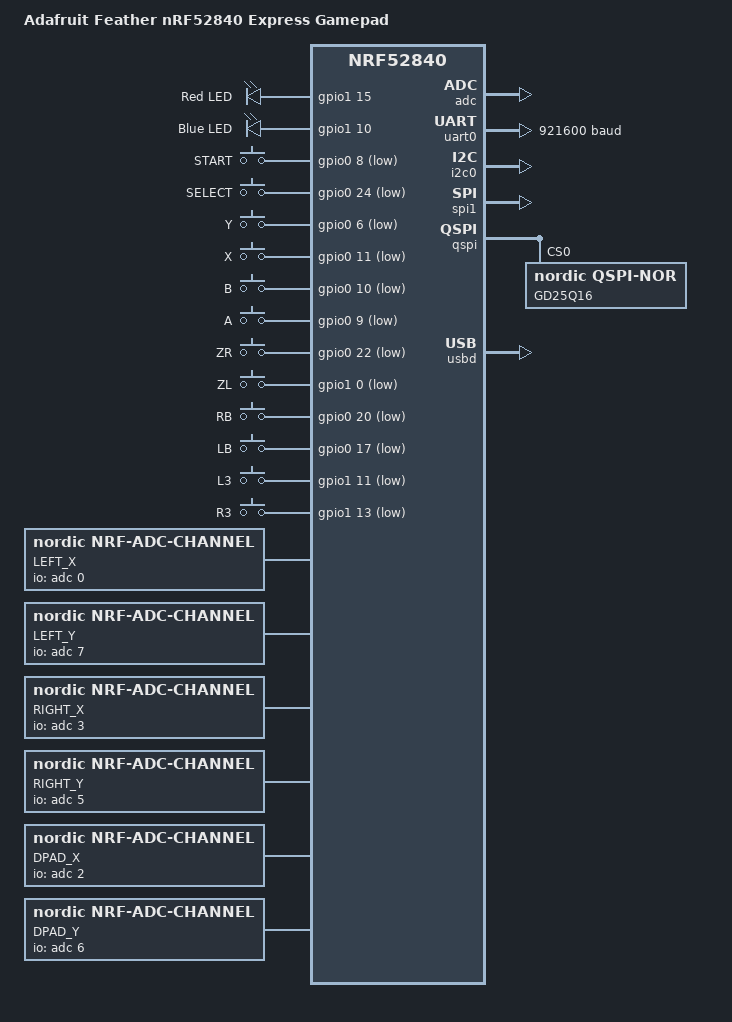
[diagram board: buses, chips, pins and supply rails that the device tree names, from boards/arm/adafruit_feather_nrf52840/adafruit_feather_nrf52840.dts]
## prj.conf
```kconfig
CONFIG_BT=y
CONFIG_BT_DEBUG_LOG=y
#CONFIG_BT_MAX_CONN=1
#CONFIG_BT_MAX_PAIRED=1
CONFIG_BT_L2CAP_TX_BUF_COUNT=5
CONFIG_BT_PERIPHERAL=y
#CONFIG_BT_DEVICE_NAME="Gamepad nRF5240"
CONFIG_BT_DEVICE_APPEARANCE=964

CONFIG_ADC=y
CONFIG_ADC_NRFX_SAADC=y

CONFIG_BT_BAS=y
CONFIG_BT_HIDS=y
#CONFIG_BT_HIDS_MAX_CLIENT_COUNT=1
CONFIG_BT_GATT_UUID16_POOL_SIZE=40
CONFIG_BT_GATT_CHRC_POOL_SIZE=20

CONFIG_BT_CONN_CTX=y

CONFIG_BT_DIS=y
CONFIG_BT_DIS_PNP=y
CONFIG_BT_DIS_MANUF="Arasaka"
CONFIG_BT_DIS_PNP_VID_SRC=2
CONFIG_BT_DIS_PNP_VID=0x18d1
CONFIG_BT_DIS_PNP_PID=0x9400
CONFIG_BT_DIS_PNP_VER=0x0100

CONFIG_MAIN_STACK_SIZE=1536
CONFIG_SYSTEM_WORKQUEUE_STACK_SIZE=2048

CONFIG_BT_HIDS_DEFAULT_PERM_RW_ENCRYPT=y

CONFIG_BT_SMP=y
CONFIG_BT_SETTINGS=y
CONFIG_FLASH=y
CONFIG_FLASH_PAGE_LAYOUT=y
CONFIG_FLASH_MAP=y
CONFIG_NVS=y
CONFIG_SETTINGS=y

CONFIG_BT_PRIVACY=y

CONFIG_LOG=y
CONFIG_LOG_MAX_LEVEL=3
#CONFIG_BT_HIDS_LOG_LEVEL_DBG=y
#CONFIG_BT_GATT_LOG_LEVEL_DBG=y

CONFIG_BT_FILTER_ACCEPT_LIST=y

CONFIG_USE_DT_CODE_PARTITION=y
CONFIG_BUILD_OUTPUT_UF2=y

CONFIG_GPIO=y

CONFIG_POWEROFF=y

CONFIG_NRF_STORE_REBOOT_TYPE_GPREGRET=y
```

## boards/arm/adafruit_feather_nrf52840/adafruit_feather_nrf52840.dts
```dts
/dts-v1/;
#include <nordic/nrf52840_qiaa.dtsi>
#include "feather_connector.dtsi"
#include "adafruit_feather_nrf52840-pinctrl.dtsi"

/ {
	model = "Adafruit Feather nRF52840 Express Gamepad";
	compatible = "adafruit,feather-nrf52840";

	chosen {
		zephyr,console = &uart0;
		zephyr,shell-uart = &uart0;
		zephyr,uart-mcumgr = &uart0;
		zephyr,bt-mon-uart = &uart0;
		zephyr,bt-c2h-uart = &uart0;
		zephyr,sram = &sram0;
		zephyr,flash = &flash0;
		zephyr,code-partition = &code_partition;
	};
 
	leds {
		compatible = "gpio-leds";
		led0: led_0 {
			gpios = <&gpio1 15 0>;
			label = "Red LED";
		};
		led1: led_1 {
			gpios = <&gpio1 10 0>;
			label = "Blue LED";
		};
	};

	buttons {
		compatible = "gpio-keys";
		button_start: button_start { gpios = <&gpio0 8 (GPIO_PULL_UP | GPIO_ACTIVE_LOW)>; label = "START"; };
		button_select: button_select { gpios = <&gpio0 24 (GPIO_PULL_UP | GPIO_ACTIVE_LOW)>; label = "SELECT"; };
		button_y: button_y { gpios = <&gpio0 6 (GPIO_PULL_UP | GPIO_ACTIVE_LOW)>; label = "Y"; };
		button_x: button_x { gpios = <&gpio0 11 (GPIO_PULL_UP | GPIO_ACTIVE_LOW)>; label = "X"; };
		button_b: button_b { gpios = <&gpio0 10 (GPIO_PULL_UP | GPIO_ACTIVE_LOW)>; label = "B"; };
		button_a: button_a { gpios = <&gpio0 9 (GPIO_PULL_UP | GPIO_ACTIVE_LOW)>; label = "A"; };
		button_zr: button_zr { gpios = <&gpio0 22 (GPIO_PULL_UP | GPIO_ACTIVE_LOW)>; label = "ZR"; };
		button_zl: button_zl { gpios = <&gpio1 0 (GPIO_PULL_UP | GPIO_ACTIVE_LOW)>; label = "ZL"; };
		button_rb: button_rb { gpios = <&gpio0 20 (GPIO_PULL_UP | GPIO_ACTIVE_LOW)>; label = "RB"; };
		button_lb: button_lb { gpios = <&gpio0 17 (GPIO_PULL_UP | GPIO_ACTIVE_LOW)>; label = "LB"; };
		button_l3: button_l3 { gpios = <&gpio1 11 (GPIO_PULL_UP | GPIO_ACTIVE_LOW)>; label = "L3"; };
		button_r3: button_r3 { gpios = <&gpio1 13 (GPIO_PULL_UP | GPIO_ACTIVE_LOW)>; label = "R3"; };
	};

	aliases {
		led0 = &led0;
		led1 = &led1;
		btn-start = &button_start;
		btn-select = &button_select;
		btn-y = &button_y;
		btn-x = &button_x;
		btn-b = &button_b;
		btn-a = &button_a;
		btn-zr = &button_zr;
		btn-zl = &button_zl;
		btn-rb = &button_rb;
		btn-lb = &button_lb;
		btn-l3 = &button_l3;
		btn-r3 = &button_r3;
	};

	adc_left_x: adc_left_x {
		compatible = "nordic,nrf-adc-channel";
		io-channels = <&adc 0>; // AIN0: P0.02
		label = "LEFT_X";
	};
	adc_left_y: adc_left_y {
		compatible = "nordic,nrf-adc-channel";
		io-channels = <&adc 7>; // AIN7: P1.15
		label = "LEFT_Y";
	};
	adc_right_x: adc_right_x {
		compatible = "nordic,nrf-adc-channel";
		io-channels = <&adc 3>; // AIN3: P0.31
		label = "RIGHT_X";
	};
	adc_right_y: adc_right_y {
		compatible = "nordic,nrf-adc-channel";
		io-channels = <&adc 5>; // AIN5: P0.29
		label = "RIGHT_Y";
	};
	adc_dpad_x: adc_dpad_x {
		compatible = "nordic,nrf-adc-channel";
		io-channels = <&adc 2>; // AIN2: P1.04
		label = "DPAD_X";
	};
	adc_dpad_y: adc_dpad_y {
		compatible = "nordic,nrf-adc-channel";
		io-channels = <&adc 6>; // AIN6: P1.06
		label = "DPAD_Y";
	};
};

&adc {
	status = "okay";
};

&gpiote {
	status = "okay";
};

&gpio0 {
	status = "okay";
	sense-edge-mask = < 0xffffffff >;
};

&gpio1 {
	status = "okay";
	sense-edge-mask = < 0xffffffff >;
};

&uart0 {
	compatible = "nordic,nrf-uart";
	current-speed = <921600>;
	status = "okay";
	pinctrl-0 = <&uart0_default>;
	pinctrl-1 = <&uart0_sleep>;
	pinctrl-names = "default", "sleep";
};

&i2c0 {
	compatible = "nordic,nrf-twi";
	status = "okay";
	pinctrl-0 = <&i2c0_default>;
	pinctrl-1 = <&i2c0_sleep>;
	pinctrl-names = "default", "sleep";
};

&spi1 {
	compatible = "nordic,nrf-spi";
	status = "okay";
	pinctrl-0 = <&spi1_default>;
	pinctrl-1 = <&spi1_sleep>;
	pinctrl-names = "default", "sleep";
};

&qspi {
	status = "okay";
	pinctrl-0 = <&qspi_default>;
	pinctrl-1 = <&qspi_sleep>;
	pinctrl-names = "default", "sleep";
	gd25q16: gd25q16@0 {
		compatible = "nordic,qspi-nor";
		reg = <0>;
		writeoc = "pp4o";
		readoc = "read4io";
		sck-frequency = <16000000>;
		label = "GD25Q16";
		jedec-id = [c8 40 15];
		size = <16777216>;
		has-dpd;
		t-enter-dpd = <20000>;
		t-exit-dpd = <20000>;
		quad-enable-requirements = "S2B1v1";
	};
};

&flash0 {
	partitions {
		compatible = "fixed-partitions";
		#address-cells = <1>;
		#size-cells = <1>;
		sd_partition: partition@0 {
			label = "softdevice";
			reg = <0x00000000 0x00026000>;
		};
		code_partition: partition@26000 {
			label = "code_partition";
			reg = <0x00026000 0x000c6000>;
		};
		storage_partition: partition@ec000 {
			label = "storage";
			reg = <0x000ec000 0x00008000>;
		};
		boot_partition: partition@f4000 {
			label = "adafruit_boot";
			reg = <0x000f4000 0x0000c000>;
		};
	};
};

zephyr_udc0: &usbd {
	compatible = "nordic,nrf-usbd";
	status = "okay";
};
```

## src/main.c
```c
#include <assert.h>
#include <errno.h>
#include <soc.h>
#include <stddef.h>
#include <string.h>
#include <zephyr/drivers/gpio.h>
#include <zephyr/drivers/adc.h>
#include <zephyr/kernel.h>
#include <zephyr/logging/log.h>
#include <zephyr/settings/settings.h>
#include <zephyr/sys/byteorder.h>
#include <zephyr/sys/poweroff.h>
#include <zephyr/sys/printk.h>
#include <zephyr/sys/reboot.h>
#include <zephyr/types.h>
#include <zephyr/bluetooth/bluetooth.h>
#include <zephyr/bluetooth/conn.h>
#include <zephyr/bluetooth/gatt.h>
#include <zephyr/bluetooth/hci.h>
#include <zephyr/bluetooth/uuid.h>
#include <bluetooth/services/hids.h>
#include <zephyr/bluetooth/services/bas.h>
#include <zephyr/bluetooth/services/dis.h>
 
LOG_MODULE_REGISTER(gamepad, LOG_LEVEL_DBG);

#define REPORT_ID 3
#define REPORT_ID_IDX 0
#define REPORT_LEN 10
#define HIDS_QUEUE_SIZE 10
#define DISCONNECTED_SLEEP_TIMEOUT K_SECONDS(60)
#define CONNECTED_SLEEP_TIMEOUT K_SECONDS(600)
#define SYS_BUTTON_LONG_PRESS_MS 3000
#define SYS_BUTTON_VERY_LONG_PRESS_MS 10000
#define CHK(x) do { int ret = (x); if (ret) { printk("Error %d at %s:%d\n", ret, __FILE__, __LINE__); return; } } while(0)

#define DPAD_ADC_RESOLUTION 12
#define DPAD_ADC_GAIN ADC_GAIN_1
#define DPAD_ADC_REF ADC_REF_INTERNAL
#define DPAD_ADC_ACQUISITION_TIME ADC_ACQ_TIME_DEFAULT
#define DPAD_CENTER 2048
#define DPAD_DEADZONE 300
 
struct __attribute__((packed)) report_t {
    uint8_t dpad;
    uint8_t capture : 1;
    uint8_t assistant : 1;
    uint8_t l2 : 1;
    uint8_t r2 : 1;
    uint8_t stadia : 1;
    uint8_t menu : 1;
    uint8_t options : 1;
    uint8_t r3 : 1;
    uint8_t l3 : 1;
    uint8_t r1 : 1;
    uint8_t l1 : 1;
    uint8_t y : 1;
    uint8_t x : 1;
    uint8_t b : 1;
    uint8_t a : 1;
    uint8_t padding : 1;
    uint8_t lx;
    uint8_t ly;
    uint8_t rx;
    uint8_t ry;
    uint8_t l2_axis;
    uint8_t r2_axis;
    uint8_t extra_buttons;
};

static struct report_t report;
static struct report_t prev_report;

// Full HID report descriptor, as in your original file
static uint8_t const report_map[] = {
    0x05, 0x01,        // Usage Page (Generic Desktop Ctrls)
    0x09, 0x05,        // Usage (Game Pad)
    0xA1, 0x01,        // Collection (Application)
    0x85, 0x03,        //   Report ID (3)
    0x05, 0x01,        //   Usage Page (Generic Desktop Ctrls)
    0x75, 0x04,        //   Report Size (4)
    0x95, 0x01,        //   Report Count (1)
    0x25, 0x07,        //   Logical Maximum (7)
    0x46, 0x3B, 0x01,  //   Physical Maximum (315)
    0x65, 0x14,        //   Unit (System: English Rotation, Length: Centimeter)
    0x09, 0x39,        //   Usage (Hat switch)
    0x81, 0x42,        //   Input (Data,Var,Abs,No Wrap,Linear,Preferred State,Null State)
    0x45, 0x00,        //   Physical Maximum (0)
    0x65, 0x00,        //   Unit (None)
    0x75, 0x01,        //   Report Size (1)
    0x95, 0x04,        //   Report Count (4)
    0x81, 0x01,        //   Input (Const,Array,Abs,No Wrap,Linear,Preferred State,No Null Position)
    0x05, 0x09,        //   Usage Page (Button)
    0x15, 0x00,        //   Logical Minimum (0)
    0x25, 0x01,        //   Logical Maximum (1)
    0x75, 0x01,        //   Report Size (1)
    0x95, 0x0F,        //   Report Count (15)
    0x09, 0x12,        //   Usage (0x12)
    0x09, 0x11,        //   Usage (0x11)
    0x09, 0x14,        //   Usage (0x14)
    0x09, 0x13,        //   Usage (0x13)
    0x09, 0x0D,        //   Usage (0x0D)
    0x09, 0x0C,        //   Usage (0x0C)
    0x09, 0x0B,        //   Usage (0x0B)
    0x09, 0x0F,        //   Usage (0x0F)
    0x09, 0x0E,        //   Usage (0x0E)
    0x09, 0x08,        //   Usage (0x08)
    0x09, 0x07,        //   Usage (0x07)
    0x09, 0x05,        //   Usage (0x05)
    0x09, 0x04,        //   Usage (0x04)
    0x09, 0x02,        //   Usage (0x02)
    0x09, 0x01,        //   Usage (0x01)
    0x81, 0x02,        //   Input (Data,Var,Abs,No Wrap,Linear,Preferred State,No Null Position)
    0x75, 0x01,        //   Report Size (1)
    0x95, 0x01,        //   Report Count (1)
    0x81, 0x01,        //   Input (Const,Array,Abs,No Wrap,Linear,Preferred State,No Null Position)
    0x05, 0x01,        //   Usage Page (Generic Desktop Ctrls)
    0x15, 0x01,        //   Logical Minimum (1)
    0x26, 0xFF, 0x00,  //   Logical Maximum (255)
    0x09, 0x01,        //   Usage (Pointer)
    0xA1, 0x00,        //   Collection (Physical)
    0x09, 0x30,        //     Usage (X)
    0x09, 0x31,        //     Usage (Y)
    0x75, 0x08,        //     Report Size (8)
    0x95, 0x02,        //     Report Count (2)
    0x81, 0x02,        //     Input (Data,Var,Abs,No Wrap,Linear,Preferred State,No Null Position)
    0xC0,              //   End Collection
    0x09, 0x01,        //   Usage (Pointer)
    0xA1, 0x00,        //   Collection (Physical)
    0x09, 0x32,        //     Usage (Z)
    0x09, 0x35,        //     Usage (Rz)
    0x75, 0x08,        //     Report Size (8)
    0x95, 0x02,        //     Report Count (2)
    0x81, 0x02,        //     Input (Data,Var,Abs,No Wrap,Linear,Preferred State,No Null Position)
    0xC0,              //   End Collection
    0x05, 0x02,        //   Usage Page (Sim Ctrls)
    0x75, 0x08,        //   Report Size (8)
    0x95, 0x02,        //   Report Count (2)
    0x15, 0x00,        //   Logical Minimum (0)
    0x26, 0xFF, 0x00,  //   Logical Maximum (255)
    0x09, 0xC5,        //   Usage (Brake)
    0x09, 0xC4,        //   Usage (Accelerator)
    0x81, 0x02,        //   Input (Data,Var,Abs,No Wrap,Linear,Preferred State,No Null Position)
    0x05, 0x0C,        //   Usage Page (Consumer)
    0x15, 0x00,        //   Logical Minimum (0)
    0x25, 0x01,        //   Logical Maximum (1)
    0x09, 0xE9,        //   Usage (Volume Increment)
    0x09, 0xEA,        //   Usage (Volume Decrement)
    0x75, 0x01,        //   Report Size (1)
    0x95, 0x02,        //   Report Count (2)
    0x81, 0x02,        //   Input (Data,Var,Abs,No Wrap,Linear,Preferred State,No Null Position)
    0x09, 0xCD,        //   Usage (Play/Pause)
    0x95, 0x01,        //   Report Count (1)
    0x81, 0x02,        //   Input (Data,Var,Abs,No Wrap,Linear,Preferred State,No Null Position)
    0x95, 0x05,        //   Report Count (5)
    0x81, 0x01,        //   Input (Const,Array,Abs,No Wrap,Linear,Preferred State,No Null Position)
    0xC0,  // End Collection
};

static const struct gpio_dt_spec buttons[] = {
    GPIO_DT_SPEC_GET(DT_ALIAS(btn_start), gpios),
    GPIO_DT_SPEC_GET(DT_ALIAS(btn_select), gpios),
    GPIO_DT_SPEC_GET(DT_ALIAS(btn_y), gpios),
    GPIO_DT_SPEC_GET(DT_ALIAS(btn_x), gpios),
    GPIO_DT_SPEC_GET(DT_ALIAS(btn_b), gpios),
    GPIO_DT_SPEC_GET(DT_ALIAS(btn_a), gpios),
    GPIO_DT_SPEC_GET(DT_ALIAS(btn_zr), gpios),
    GPIO_DT_SPEC_GET(DT_ALIAS(btn_zl), gpios),
    GPIO_DT_SPEC_GET(DT_ALIAS(btn_rb), gpios),
    GPIO_DT_SPEC_GET(DT_ALIAS(btn_lb), gpios),
    GPIO_DT_SPEC_GET(DT_ALIAS(btn_l3), gpios),
    GPIO_DT_SPEC_GET(DT_ALIAS(btn_r3), gpios),
};

BT_HIDS_DEF(hids_obj, REPORT_LEN);
K_MSGQ_DEFINE(hids_queue, REPORT_LEN, HIDS_QUEUE_SIZE, 4);

static struct bt_conn* active_conn = NULL;
static bool try_directed;
static int prev_sys_button_state = 0;
static int64_t sys_button_pressed_at;

static void sleep_work_fn(struct k_work* work) {
    LOG_INF("Going to sleep...");
    sys_poweroff();
}
static K_WORK_DELAYABLE_DEFINE(sleep_work, sleep_work_fn);

static void advertising_work_fn(struct k_work* work) {
    LOG_INF("");
    struct bt_le_adv_param adv_param;
    adv_param = *BT_LE_ADV_CONN;
    adv_param.options |= BT_LE_ADV_OPT_ONE_TIME;
    if (!bt_le_adv_start(&adv_param, NULL, 0, NULL, 0)) {
        LOG_INF("Regular advertising started.");
    }
}
static K_WORK_DEFINE(advertising_work, advertising_work_fn);

static void advertising_start(void) {
    try_directed = false;
    k_work_submit(&advertising_work);
    k_work_reschedule(&sleep_work, DISCONNECTED_SLEEP_TIMEOUT);
}

static void advertising_restart(void) {
    try_directed = false;
    k_work_submit(&advertising_work);
}

static void connected(struct bt_conn* conn, uint8_t err) {
    if (err) return;
    active_conn = conn;
    CHK(bt_hids_connected(&hids_obj, conn));
    k_work_reschedule(&sleep_work, CONNECTED_SLEEP_TIMEOUT);
}

static void disconnected(struct bt_conn* conn, uint8_t reason) {
    if (conn == active_conn) {
        bt_hids_disconnected(&hids_obj, conn);
        active_conn = NULL;
    }
    advertising_start();
}

BT_CONN_CB_DEFINE(conn_callbacks) = {
    .connected = connected,
    .disconnected = disconnected,
};

static void hid_init(void) {
    struct bt_hids_init_param hids_init_param = { 0 };
    struct bt_hids_inp_rep* hids_inp_rep;
    hids_init_param.rep_map.data = report_map;
    hids_init_param.rep_map.size = sizeof(report_map);

    hids_init_param.info.bcd_hid = 0x0101;
    hids_init_param.info.b_country_code = 0x00;
    hids_init_param.info.flags = (BT_HIDS_REMOTE_WAKE |
                                  BT_HIDS_NORMALLY_CONNECTABLE);

    hids_inp_rep = &hids_init_param.inp_rep_group_init.reports[0];
    hids_inp_rep->size = sizeof(struct report_t);
    hids_inp_rep->id = REPORT_ID;
    hids_init_param.inp_rep_group_init.cnt++;

    bt_hids_init(&hids_obj, &hids_init_param);
}

static void report_sent_cb(struct bt_conn* conn, void* user_data) {
    LOG_DBG("");
}

static void hids_work_fn(struct k_work* work) {
    uint8_t rep[REPORT_LEN];
    while (!k_msgq_get(&hids_queue, rep, K_NO_WAIT)) {
        if (active_conn != NULL) {
            k_work_reschedule(&sleep_work, CONNECTED_SLEEP_TIMEOUT);
            bt_hids_inp_rep_send(&hids_obj, active_conn, REPORT_ID_IDX, rep, REPORT_LEN, report_sent_cb);
        }
    }
}
static K_WORK_DEFINE(hids_work, hids_work_fn);

static void reset_to_bootloader() {
    sys_reboot(0x57);
}

static void report_init() {
    memset(&report, 0, sizeof(report));
    report.dpad = 8;
    report.lx = 0x80;
    report.ly = 0x80;
    report.rx = 0x80;
    report.ry = 0x80;
    memcpy(&prev_report, &report, sizeof(report));
}

static void configure_buttons(void) {
    for (size_t i = 0; i < ARRAY_SIZE(buttons); i++) {
        gpio_pin_configure_dt(&buttons[i], GPIO_INPUT | GPIO_PULL_UP | GPIO_ACTIVE_LOW);
    }
}

static int read_adc(const struct device *adc_dev, uint8_t channel) {
    int16_t buf = 0;
    struct adc_channel_cfg cfg = {
        .gain = DPAD_ADC_GAIN,
        .reference = DPAD_ADC_REF,
        .acquisition_time = DPAD_ADC_ACQUISITION_TIME,
        .channel_id = channel,
        .differential = 0,
    };
    adc_channel_setup(adc_dev, &cfg);
    struct adc_sequence sequence = {
        .channels    = BIT(channel),
        .buffer      = &buf,
        .buffer_size = sizeof(buf),
        .resolution  = DPAD_ADC_RESOLUTION,
    };
    if (adc_read(adc_dev, &sequence) != 0) return DPAD_CENTER;
    return buf;
}

static void handle_buttons() {
    int sys_button_state = gpio_pin_get_dt(&buttons[0]);
    int64_t now = k_uptime_get();
    if (!prev_sys_button_state && sys_button_state) {
        sys_button_pressed_at = now;
    }
    if (prev_sys_button_state && !sys_button_state) {
        int64_t duration = now - sys_button_pressed_at;
        if (duration >= SYS_BUTTON_VERY_LONG_PRESS_MS) {
            reset_to_bootloader();
        }
    }
    prev_sys_button_state = sys_button_state;

    report.menu = gpio_pin_get_dt(&buttons[0]);
    report.options = gpio_pin_get_dt(&buttons[1]);
    report.y = gpio_pin_get_dt(&buttons[2]);
    report.x = gpio_pin_get_dt(&buttons[3]);
    report.b = gpio_pin_get_dt(&buttons[4]);
    report.a = gpio_pin_get_dt(&buttons[5]);
    report.r2 = gpio_pin_get_dt(&buttons[6]);
    report.l2 = gpio_pin_get_dt(&buttons[7]);
    report.r1 = gpio_pin_get_dt(&buttons[8]);
    report.l1 = gpio_pin_get_dt(&buttons[9]);
    report.l3 = gpio_pin_get_dt(&buttons[10]);
    report.r3 = gpio_pin_get_dt(&buttons[11]);

    // Analog joystick handling
    const struct device *adc_dev = DEVICE_DT_GET(DT_NODELABEL(adc));
    int lx = read_adc(adc_dev, 0); // LEFT_X (AIN0: P0.02)
    int ly = read_adc(adc_dev, 7); // LEFT_Y (AIN7: P1.15)
    int rx = read_adc(adc_dev, 3); // RIGHT_X (AIN3: P0.31)
    int ry = read_adc(adc_dev, 5); // RIGHT_Y (AIN5: P0.29)
    int dpad_x = read_adc(adc_dev, 2); // DPAD_X (AIN2: P1.04)
    int dpad_y = read_adc(adc_dev, 6); // DPAD_Y (AIN6: P1.06)

    // Map analog values to 8-bit
    report.lx = (lx >> 4) & 0xFF;
    report.ly = (ly >> 4) & 0xFF;
    report.rx = (rx >> 4) & 0xFF;
    report.ry = (ry >> 4) & 0xFF;

    // DPAD analog to hat value
    uint8_t dpad = 8; // default neutral

    if (dpad_y > DPAD_CENTER + DPAD_DEADZONE && abs(dpad_x - DPAD_CENTER) < DPAD_DEADZONE)
        dpad = 0; // Up
    else if (dpad_y < DPAD_CENTER - DPAD_DEADZONE && abs(dpad_x - DPAD_CENTER) < DPAD_DEADZONE)
        dpad = 4; // Down
    else if (dpad_x < DPAD_CENTER - DPAD_DEADZONE && abs(dpad_y - DPAD_CENTER) < DPAD_DEADZONE)
        dpad = 6; // Left
    else if (dpad_x > DPAD_CENTER + DPAD_DEADZONE && abs(dpad_y - DPAD_CENTER) < DPAD_DEADZONE)
        dpad = 2; // Right;
    else if (dpad_x > DPAD_CENTER + DPAD_DEADZONE && dpad_y > DPAD_CENTER + DPAD_DEADZONE)
        dpad = 1; // Up-Right
    else if (dpad_x < DPAD_CENTER - DPAD_DEADZONE && dpad_y > DPAD_CENTER + DPAD_DEADZONE)
        dpad = 7; // Up-Left
    else if (dpad_x > DPAD_CENTER + DPAD_DEADZONE && dpad_y < DPAD_CENTER - DPAD_DEADZONE)
        dpad = 3; // Down-Right
    else if (dpad_x < DPAD_CENTER - DPAD_DEADZONE && dpad_y < DPAD_CENTER - DPAD_DEADZONE)
        dpad = 5; // Down-Left

    report.dpad = dpad;

    if (memcmp(&prev_report, &report, sizeof(report))) {
        k_msgq_put(&hids_queue, &report, K_NO_WAIT);
        k_work_submit(&hids_work);
        memcpy(&prev_report, &report, sizeof(report));
    }
}

int main() {
    LOG_INF("Gamepad nRF52");

    report_init();
    hid_init();

    bt_enable(NULL);
    settings_load();
    advertising_start();
    configure_buttons();

    while (1) {
        k_sleep(K_MSEC(1));
        handle_buttons();
    }
}
```
